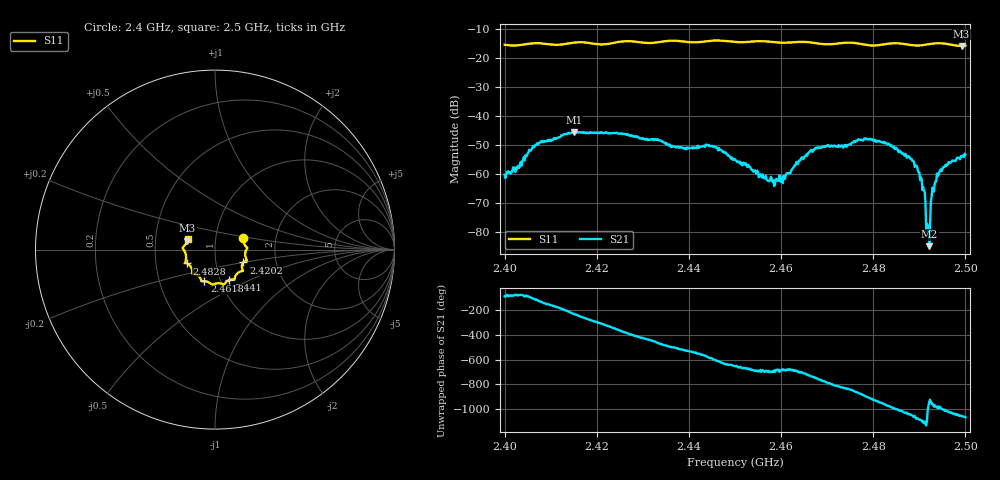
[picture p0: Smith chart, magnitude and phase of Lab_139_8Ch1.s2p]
# Hz S RI R 50
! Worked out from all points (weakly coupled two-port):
!   601 points, 2.4 GHz to 2.5 GHz, reference 50 ohm
!   highest |S21| = -45.52 dB at 2.415 GHz (marker M1); lowest = -85.0 dB at 2.4922 GHz (marker M2)
!   lowest |S11| = -15.8 dB at 2.4992 GHz (marker M3), VSWR 1.39, Z = 36.5 + j3.67 ohm
!   |S11| at or under -10 dB: start of sweep to end of sweep
!   S12 and S22 are empty: the file has one direction only
!   S11 on the Smith chart (normalised r, x): 2.4 GHz: 1.36, +0.18; 2.4202 GHz: 1.36, -0.20; 2.441 GHz: 1.10, -0.39; 2.4618 GHz: 0.84, -0.31; 2.4828 GHz: 0.72, -0.11; 2.5 GHz: 0.73, +0.09
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2.4e9  0.158 0.0625  1.78e-05 -0.000962  0 0  0 0
2.407333e9  0.1804 0.00893  -0.00182 -0.00271  0 0  0 0
2.415e9  0.1763 -0.0556  -0.00336 0.0041  0 0  0 0
2.416667e9  0.1776 -0.0604  -0.00143 0.00495  0 0  0 0
2.420167e9  0.1582 -0.0715  0.00267 0.00438  0 0  0 0
2.433333e9  0.112 -0.1514  -0.00107 -0.00371  0 0  0 0
2.441e9  0.0783 -0.1698  -0.00287 6.65e-06  0 0  0 0
2.4455e9  0.0514 -0.1942  -0.00139 0.00267  0 0  0 0
2.45e9  0.0285 -0.1877  0.000639 0.00168  0 0  0 0
2.4585e9  -0.0286 -0.1861  0.000511 0.000346  0 0  0 0
2.461833e9  -0.0592 -0.1759  0.000814 0.000609  0 0  0 0
2.466667e9  -0.0784 -0.1681  0.00239 -0.000686  0 0  0 0
2.482833e9  -0.1573 -0.0772  -0.00125 0.00312  0 0  0 0
2.483333e9  -0.1605 -0.0757  -0.000926 0.00321  0 0  0 0
2.489167e9  -0.1614 -0.0345  0.00137 0.000319  0 0  0 0
2.490833e9  -0.1673 -0.0134  0.000561 -0.000187  0 0  0 0
2.491833e9  -0.1726 -0.00338  2.54e-05 0.000124  0 0  0 0
2.492167e9  -0.1745 -0.000559  -4.39e-05 3.53e-05  0 0  0 0
2.493e9  -0.1782 0.00461  -0.000198 0.000489  0 0  0 0
2.494167e9  -0.1803 0.00948  -0.000201 0.000939  0 0  0 0
2.499167e9  -0.1545 0.049  0.00179 0.000829  0 0  0 0
2.5e9  -0.1522 0.0608  0.0021 0.00049  0 0  0 0
